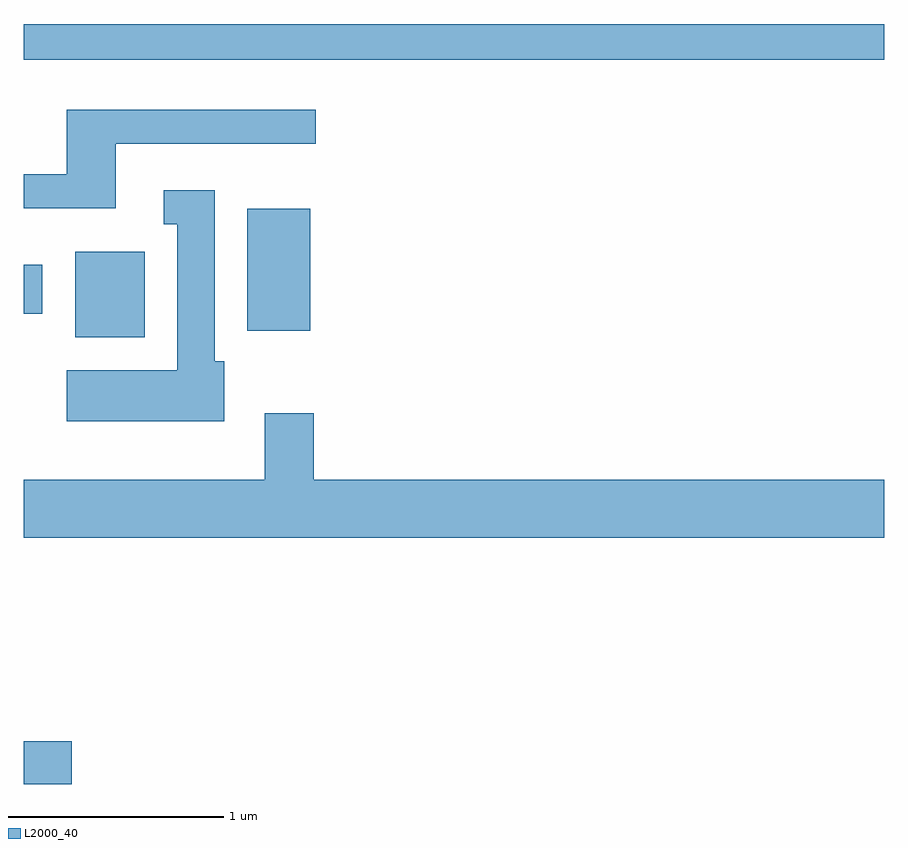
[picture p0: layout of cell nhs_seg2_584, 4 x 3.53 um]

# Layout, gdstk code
import gdstk
lib = gdstk.Library(unit=1e-6, precision=1e-09)
def R(c, l, rs):  # rectangles x0, y0, x1, y1
    for r in rs: c.add(gdstk.rectangle(r[:2], r[2:], *l))
def P(c, l, *ps):  # polygons
    for p in ps: c.add(gdstk.Polygon(p, *l))
L2000_40 = (2000, 40)

nhs_seg2_584 = lib.new_cell('nhs_seg2_584')
R(nhs_seg2_584, L2000_40, [(201.611,1058.271,201.834,1058.469), (201.851,1060.346,202.174,1060.744), (202.651,1060.376,202.944,1060.944), (201.611,1060.456,201.699,1060.684), (201.611,1061.636,205.611,1061.802)])
P(nhs_seg2_584, L2000_40, [(202.039,1061.246),(202.968,1061.246),(202.968,1061.404),(201.811,1061.404),(201.811,1061.104),(201.611,1061.104),(201.611,1060.946),(202.039,1060.946)],
  [(202.544,1060.234),(202.499,1060.234),(202.499,1061.029),(202.263,1061.029),(202.263,1060.871),(202.326,1060.871),(202.326,1060.194),(201.811,1060.194),(201.811,1059.956),(202.544,1059.956)],
  [(205.611,1059.684),(202.959,1059.684),(202.959,1059.994),(202.731,1059.994),(202.731,1059.684),(201.611,1059.684),(201.611,1059.416),(205.611,1059.416)])

lib.write_gds('nhs_seg2_584.gds')
